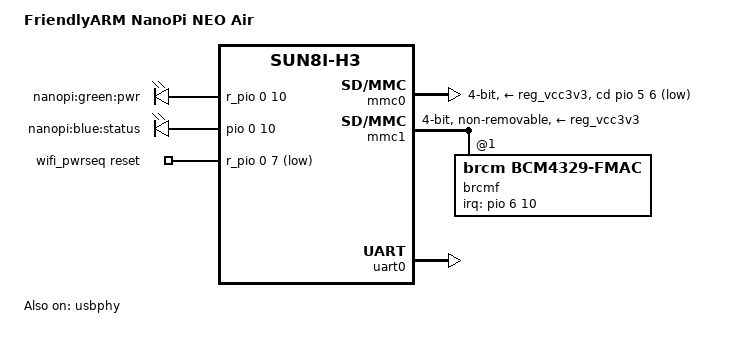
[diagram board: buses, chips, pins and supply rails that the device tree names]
/*
 * Copyright (C) 2017 Jelle van der Waa <jelle@vdwaa.nl>
 *
 * This file is dual-licensed: you can use it either under the terms
 * of the GPL or the X11 license, at your option. Note that this dual
 * licensing only applies to this file, and not this project as a
 * whole.
 *
 *  a) This file is free software; you can redistribute it and/or
 *     modify it under the terms of the GNU General Public License as
 *     published by the Free Software Foundation; either version 2 of the
 *     License, or (at your option) any later version.
 *
 *     This file is distributed in the hope that it will be useful,
 *     but WITHOUT ANY WARRANTY; without even the implied warranty of
 *     MERCHANTABILITY or FITNESS FOR A PARTICULAR PURPOSE.  See the
 *     GNU General Public License for more details.
 *
 * Or, alternatively,
 *
 *  b) Permission is hereby granted, free of charge, to any person
 *     obtaining a copy of this software and associated documentation
 *     files (the "Software"), to deal in the Software without
 *     restriction, including without limitation the rights to use,
 *     copy, modify, merge, publish, distribute, sublicense, and/or
 *     sell copies of the Software, and to permit persons to whom the
 *     Software is furnished to do so, subject to the following
 *     conditions:
 *
 *     The above copyright notice and this permission notice shall be
 *     included in all copies or substantial portions of the Software.
 *
 *     THE SOFTWARE IS PROVIDED "AS IS", WITHOUT WARRANTY OF ANY KIND,
 *     EXPRESS OR IMPLIED, INCLUDING BUT NOT LIMITED TO THE WARRANTIES
 *     OF MERCHANTABILITY, FITNESS FOR A PARTICULAR PURPOSE AND
 *     NONINFRINGEMENT. IN NO EVENT SHALL THE AUTHORS OR COPYRIGHT
 *     HOLDERS BE LIABLE FOR ANY CLAIM, DAMAGES OR OTHER LIABILITY,
 *     WHETHER IN AN ACTION OF CONTRACT, TORT OR OTHERWISE, ARISING
 *     FROM, OUT OF OR IN CONNECTION WITH THE SOFTWARE OR THE USE OR
 *     OTHER DEALINGS IN THE SOFTWARE.
 */

/dts-v1/;
#include "sun8i-h3.dtsi"
#include "sunxi-common-regulators.dtsi"

#include <dt-bindings/gpio/gpio.h>

/ {
	model = "FriendlyARM NanoPi NEO Air";
	compatible = "friendlyarm,nanopi-neo-air", "allwinner,sun8i-h3";

	aliases {
		serial0 = &uart0;
	};

	chosen {
		stdout-path = "serial0:115200n8";
	};

	leds {
		compatible = "gpio-leds";

		pwr {
			label = "nanopi:green:pwr";
			gpios = <&r_pio 0 10 GPIO_ACTIVE_HIGH>; /* PL10 */
			default-state = "on";
		};

		status {
			label = "nanopi:blue:status";
			gpios = <&pio 0 10 GPIO_ACTIVE_HIGH>; /* PA10 */
		};
	};

	wifi_pwrseq: wifi_pwrseq {
		compatible = "mmc-pwrseq-simple";
		reset-gpios = <&r_pio 0 7 GPIO_ACTIVE_LOW>; /* PL7 */
	};
};

&mmc0 {
	vmmc-supply = <&reg_vcc3v3>;
	bus-width = <4>;
	cd-gpios = <&pio 5 6 GPIO_ACTIVE_LOW>; /* PF6 */
	status = "okay";
};

&mmc1 {
	vmmc-supply = <&reg_vcc3v3>;
	vqmmc-supply = <&reg_vcc3v3>;
	mmc-pwrseq = <&wifi_pwrseq>;
	bus-width = <4>;
	non-removable;
	status = "okay";

	brcmf: bcrmf@1 {
		reg = <1>;
		compatible = "brcm,bcm4329-fmac";
		interrupt-parent = <&pio>;
		interrupts = <6 10 IRQ_TYPE_LEVEL_LOW>; /* PG10 / EINT10 */
		interrupt-names = "host-wake";
	};
};

&uart0 {
	pinctrl-names = "default";
	pinctrl-0 = <&uart0_pins_a>;
	status = "okay";
};

&usbphy {
	/* USB VBUS is always on */
	status = "okay";
};
